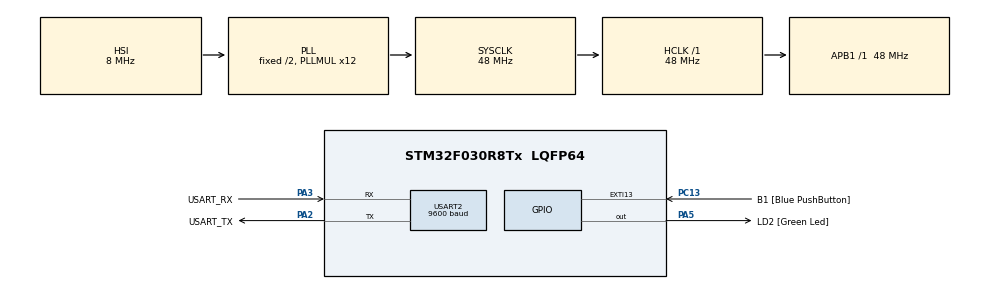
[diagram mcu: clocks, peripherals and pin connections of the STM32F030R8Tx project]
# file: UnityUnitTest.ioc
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Mcu.Family=STM32F0
Mcu.Name=STM32F030R8Tx
Mcu.Package=LQFP64
PA13.GPIO_Label=TMS
PA13.Mode=Serial_Wire
PA13.Signal=SYS_SWDIO
PA14.GPIO_Label=TCK
PA14.Mode=Serial_Wire
PA14.Signal=SYS_SWCLK
PA2.GPIO_Label=USART_TX
PA2.GPIO_Mode=GPIO_MODE_AF_PP
PA2.GPIO_PuPd=GPIO_NOPULL
PA2.GPIO_Speed=GPIO_SPEED_FREQ_LOW
PA2.Mode=Asynchronous
PA2.Signal=USART2_TX
PA3.GPIO_Label=USART_RX
PA3.GPIO_Mode=GPIO_MODE_AF_PP
PA3.GPIO_PuPd=GPIO_NOPULL
PA3.GPIO_Speed=GPIO_SPEED_FREQ_LOW
PA3.Mode=Asynchronous
PA3.Signal=USART2_RX
PA5.GPIO_Label=LD2 [Green Led]
PA5.GPIO_Mode=GPIO_MODE_OUTPUT_PP
PA5.GPIO_PuPd=GPIO_NOPULL
PA5.GPIO_Speed=GPIO_SPEED_FREQ_LOW
PA5.Signal=GPIO_Output
PC13.GPIO_Label=B1 [Blue PushButton]
PC13.GPIO_ModeDefaultEXTI=GPIO_MODE_IT_FALLING
PC13.Signal=GPXTI13
PC14-OSC32_IN.Mode=LSE-External-Oscillator
PC14-OSC32_IN.Signal=RCC_OSC32_IN
PC15-OSC32_OUT.Mode=LSE-External-Oscillator
PC15-OSC32_OUT.Signal=RCC_OSC32_OUT
PF0-OSC_IN.Mode=HSE-External-Clock-Source
PF0-OSC_IN.Signal=RCC_OSC_IN
PF1-OSC_OUT.Signal=RCC_OSC_OUT
ProjectManager.HeapSize=0x200
ProjectManager.StackSize=0x400
ProjectManager.TargetToolchain=TrueSTUDIO
RCC.AHBFreq_Value=48000000
RCC.APB1Freq_Value=48000000
RCC.APB1TimFreq_Value=48000000
RCC.HCLKFreq_Value=48000000
RCC.PLLMUL=RCC_PLL_MUL12
RCC.SYSCLKFreq_VALUE=48000000
RCC.SYSCLKSource=RCC_SYSCLKSOURCE_PLLCLK
USART2.BaudRate=9600
USART2.VirtualMode-Asynchronous=VM_ASYNC
board=NUCLEO-F030R8

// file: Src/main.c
/* USER CODE BEGIN Header */
/**
  ******************************************************************************
  * @file           : main.c
  * @brief          : Main program body
  ******************************************************************************
  ** This notice applies to any and all portions of this file
  * that are not between comment pairs USER CODE BEGIN and
  * USER CODE END. Other portions of this file, whether
  * inserted by the user or by software development tools
  * are owned by their respective copyright owners.
  *
  * COPYRIGHT(c) 2019 STMicroelectronics
  *
  * Redistribution and use in source and binary forms, with or without modification,
  * are permitted provided that the following conditions are met:
  *   1. Redistributions of source code must retain the above copyright notice,
  *      this list of conditions and the following disclaimer.
  *   2. Redistributions in binary form must reproduce the above copyright notice,
  *      this list of conditions and the following disclaimer in the documentation
  *      and/or other materials provided with the distribution.
  *   3. Neither the name of STMicroelectronics nor the names of its contributors
  *      may be used to endorse or promote products derived from this software
  *      without specific prior written permission.
  *
  * THIS SOFTWARE IS PROVIDED BY THE COPYRIGHT HOLDERS AND CONTRIBUTORS "AS IS"
  * AND ANY EXPRESS OR IMPLIED WARRANTIES, INCLUDING, BUT NOT LIMITED TO, THE
  * IMPLIED WARRANTIES OF MERCHANTABILITY AND FITNESS FOR A PARTICULAR PURPOSE ARE
  * DISCLAIMED. IN NO EVENT SHALL THE COPYRIGHT HOLDER OR CONTRIBUTORS BE LIABLE
  * FOR ANY DIRECT, INDIRECT, INCIDENTAL, SPECIAL, EXEMPLARY, OR CONSEQUENTIAL
  * DAMAGES (INCLUDING, BUT NOT LIMITED TO, PROCUREMENT OF SUBSTITUTE GOODS OR
  * SERVICES; LOSS OF USE, DATA, OR PROFITS; OR BUSINESS INTERRUPTION) HOWEVER
  * CAUSED AND ON ANY THEORY OF LIABILITY, WHETHER IN CONTRACT, STRICT LIABILITY,
  * OR TORT (INCLUDING NEGLIGENCE OR OTHERWISE) ARISING IN ANY WAY OUT OF THE USE
  * OF THIS SOFTWARE, EVEN IF ADVISED OF THE POSSIBILITY OF SUCH DAMAGE.
  *
  ******************************************************************************
  */
/* USER CODE END Header */

#include "main.h"

/* USER CODE BEGIN Includes */
#include <setjmp.h>
#include "unity.h"
#include "Test.h"
/* USER CODE END Includes */

UART_HandleTypeDef huart2;

/* USER CODE BEGIN PV */
int num;
/* USER CODE END PV */

void SystemClock_Config(void);
static void MX_GPIO_Init(void);
static void MX_USART2_UART_Init(void);

/* USER CODE BEGIN 0 */

#ifdef __GNUC__
/* With GCC/RAISONANCE, small printf (option LD Linker->Libraries->Small printf
   set to 'Yes') calls __io_putchar() */
#define PUTCHAR_PROTOTYPE int __io_putchar(int ch)
#else
#define PUTCHAR_PROTOTYPE int fputc(int ch, FILE *f)
#endif /* __GNUC__ */

PUTCHAR_PROTOTYPE
{
    /* Place your implementation of fputc here */
    /* e.g. write a character to the LCD */
    HAL_UART_Transmit(&huart2, (uint8_t *)&ch, 1, 0xFFFF);
    return ch;
}

void runTest(UnityTestFunction test)
{
  if(TEST_PROTECT())
  {
    test();
  }
}

int sum(int a, int b)
{
  return (a+b);
}
/* USER CODE END 0 */

int main(void)
{

  /* MCU Configuration--------------------------------------------------------*/

  /* Reset of all peripherals, Initializes the Flash interface and the Systick. */
  HAL_Init();

  /* Configure the system clock */
  SystemClock_Config();

  /* Initialize all configured peripherals */
  MX_GPIO_Init();
  MX_USART2_UART_Init();

  /* Infinite loop */
  /* USER CODE BEGIN WHILE */
  while (1)
  {
    printf("\n Unit test \n");

    UnityBegin("Test.c");
    RUN_TEST(test_always_pass);
    RUN_TEST(test_sum_function);
    return (UnityEnd());
    /* USER CODE END WHILE */

  }
}

void SystemClock_Config(void)
{
  RCC_OscInitTypeDef RCC_OscInitStruct = {0};
  RCC_ClkInitTypeDef RCC_ClkInitStruct = {0};

  /**Initializes the CPU, AHB and APB busses clocks
  */
  RCC_OscInitStruct.OscillatorType = RCC_OSCILLATORTYPE_HSI;
  RCC_OscInitStruct.HSIState = RCC_HSI_ON;
  RCC_OscInitStruct.HSICalibrationValue = RCC_HSICALIBRATION_DEFAULT;
  RCC_OscInitStruct.PLL.PLLState = RCC_PLL_ON;
  RCC_OscInitStruct.PLL.PLLSource = RCC_PLLSOURCE_HSI;
  RCC_OscInitStruct.PLL.PLLMUL = RCC_PLL_MUL12;
  RCC_OscInitStruct.PLL.PREDIV = RCC_PREDIV_DIV1;
  if (HAL_RCC_OscConfig(&RCC_OscInitStruct) != HAL_OK)
  {
    Error_Handler();
  }
  /**Initializes the CPU, AHB and APB busses clocks
  */
  RCC_ClkInitStruct.ClockType = RCC_CLOCKTYPE_HCLK|RCC_CLOCKTYPE_SYSCLK
                              |RCC_CLOCKTYPE_PCLK1;
  RCC_ClkInitStruct.SYSCLKSource = RCC_SYSCLKSOURCE_PLLCLK;
  RCC_ClkInitStruct.AHBCLKDivider = RCC_SYSCLK_DIV1;
  RCC_ClkInitStruct.APB1CLKDivider = RCC_HCLK_DIV1;

  if (HAL_RCC_ClockConfig(&RCC_ClkInitStruct, FLASH_LATENCY_1) != HAL_OK)
  {
    Error_Handler();
  }
}

static void MX_USART2_UART_Init(void)
{

  huart2.Instance = USART2;
  huart2.Init.BaudRate = 9600;
  huart2.Init.WordLength = UART_WORDLENGTH_8B;
  huart2.Init.StopBits = UART_STOPBITS_1;
  huart2.Init.Parity = UART_PARITY_NONE;
  huart2.Init.Mode = UART_MODE_TX_RX;
  huart2.Init.HwFlowCtl = UART_HWCONTROL_NONE;
  huart2.Init.OverSampling = UART_OVERSAMPLING_16;
  huart2.Init.OneBitSampling = UART_ONE_BIT_SAMPLE_DISABLE;
  huart2.AdvancedInit.AdvFeatureInit = UART_ADVFEATURE_NO_INIT;
  if (HAL_UART_Init(&huart2) != HAL_OK)
  {
    Error_Handler();
  }

}

static void MX_GPIO_Init(void)
{
  GPIO_InitTypeDef GPIO_InitStruct = {0};

  /* GPIO Ports Clock Enable */
  __HAL_RCC_GPIOC_CLK_ENABLE();
  __HAL_RCC_GPIOF_CLK_ENABLE();
  __HAL_RCC_GPIOA_CLK_ENABLE();

  /*Configure GPIO pin Output Level */
  HAL_GPIO_WritePin(LD2_GPIO_Port, LD2_Pin, GPIO_PIN_RESET);

  /*Configure GPIO pin : B1_Pin */
  GPIO_InitStruct.Pin = B1_Pin;
  GPIO_InitStruct.Mode = GPIO_MODE_IT_FALLING;
  GPIO_InitStruct.Pull = GPIO_NOPULL;
  HAL_GPIO_Init(B1_GPIO_Port, &GPIO_InitStruct);

  /*Configure GPIO pin : LD2_Pin */
  GPIO_InitStruct.Pin = LD2_Pin;
  GPIO_InitStruct.Mode = GPIO_MODE_OUTPUT_PP;
  GPIO_InitStruct.Pull = GPIO_NOPULL;
  GPIO_InitStruct.Speed = GPIO_SPEED_FREQ_LOW;
  HAL_GPIO_Init(LD2_GPIO_Port, &GPIO_InitStruct);

}

void Error_Handler(void)
{
}

/************************ (C) COPYRIGHT STMicroelectronics *****END OF FILE****/
